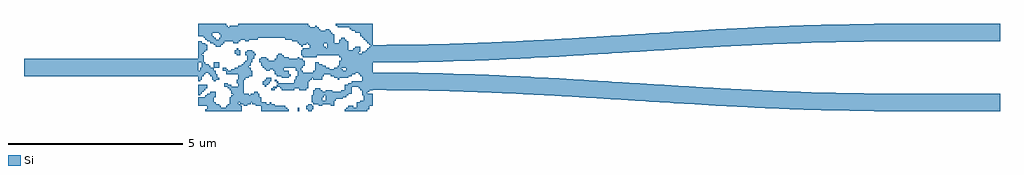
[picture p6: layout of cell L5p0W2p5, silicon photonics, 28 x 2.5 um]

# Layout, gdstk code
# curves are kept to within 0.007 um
import gdstk
lib = gdstk.Library(unit=1e-6, precision=1e-09)
def R(c, l, rs):  # rectangles x0, y0, x1, y1
    for r in rs: c.add(gdstk.rectangle(r[:2], r[2:], *l))
def P(c, l, *ps):  # polygons
    for p in ps: c.add(gdstk.Polygon(p, *l))
Si = (1, 0)

l5p0w2p5 = lib.new_cell('L5p0W2p5')
R(l5p0w2p5, Si, [(0.35,-1.25,0.4,-1.15), (-0.3,-0.4,-0.25,-0.35), (-2.05,0,-1.9,0.15), (2.1,0.45,2.15,0.6)])
P(l5p0w2p5, Si, [(17.298,-1.25),(16.187,-1.239),(14.874,-1.206),(13.36,-1.144),(12.15,-1.08),(12.15,-0.579),(13.987,-0.672),(15.694,-0.729),(17.299,-0.75),(20.5,-0.75),(20.5,-1.25)],
  [(12.15,0.579),(12.15,1.08),(14.269,1.184),(15.783,1.231),(17.298,1.25),(20.5,1.25),(20.5,0.75),(17.299,0.75),(15.694,0.729),(13.987,0.672)],
  [(12.15,-1.08),(8.224,-0.838),(6.716,-0.756),(6.716,-0.255),(8.858,-0.375),(12.15,-0.579)],
  [(6.716,0.255),(6.716,0.756),(8.224,0.838),(12.15,1.08),(12.15,0.579),(8.858,0.375)],
  [(2.1,-1.25),(2.1,-1),(2.15,-1),(2.15,-0.95),(2.25,-0.95),(2.25,-0.8),(2.2,-0.8),(2.2,-0.65),(2.15,-0.65),(2.15,-0.6),(2.1,-0.6),(2.1,-0.4),(2.2,-0.4),(2.2,-0.25),(2.15,-0.25),(2.15,-0.2),(2.1,-0.2),(2.1,0.4),(2.2,0.4),(2.2,0.45),(2.3,0.45),(2.3,0.5),(2.35,0.5),(2.35,0.55),(2.4,0.55),(2.4,0.6),(2.45,0.6),(2.45,0.65),(2.4,0.65),(2.4,0.7),(2.35,0.7),(2.35,0.75),(2.3,0.75),(2.3,0.8),(2.25,0.8),(2.25,0.85),(2.2,0.85),(2.2,0.9),(2.15,0.9),(2.15,1),(2.1,1),(2.1,1.25),(2.5,1.25),(2.5,0.645),(4.507,0.671),(6.716,0.756),(6.716,0.255),(4.52,0.171),(2.5,0.145),(2.5,-0.145),(4.52,-0.171),(6.716,-0.255),(6.716,-0.756),(5.511,-0.703),(4.306,-0.666),(3.102,-0.647),(2.4,-0.65),(2.4,-0.7),(2.35,-0.7),(2.35,-0.75),(2.5,-0.75),(2.5,-1.1),(2.4,-1.1),(2.4,-1.2),(2.35,-1.2),(2.35,-1.25)],
  [(1.7,-1.25),(1.7,-1.2),(1.75,-1.2),(1.75,-1.15),(1.8,-1.15),(1.8,-1.1),(1.95,-1.1),(1.95,-1.15),(2.05,-1.15),(2.05,-1),(2.1,-1),(2.1,-1.25)],
  [(-1.4,0.35),(-1.4,0.4),(-1.45,0.4),(-1.45,0.5),(-1.4,0.5),(-1.4,0.55),(-1.35,0.55),(-1.35,0.5),(-1.3,0.5),(-1.3,0.35)],
  [(-2.5,-0.4),(-2.5,-0.25),(-7.5,-0.25),(-7.5,-0.1),(-2.45,-0.1),(-2.45,0),(-2.4,0),(-2.4,0.15),(-2.5,0.15),(-2.5,-0.1),(-7.5,-0.1),(-7.5,0.25),(-2.5,0.25),(-2.5,0.75),(-2.4,0.75),(-2.4,0.7),(-2.3,0.7),(-2.3,0.65),(-2.25,0.65),(-2.25,0.5),(-2.3,0.5),(-2.3,0.45),(-2.35,0.45),(-2.35,0.4),(-2.4,0.4),(-2.4,0.35),(-2.35,0.35),(-2.35,0.15),(-2.3,0.15),(-2.3,0.1),(-2.2,0.1),(-2.2,0.05),(-2.15,0.05),(-2.15,0),(-2.05,0),(-2.05,-0.1),(-2,-0.1),(-2,-0.2),(-1.95,-0.2),(-1.95,-0.3),(-1.9,-0.3),(-1.9,-0.35),(-2,-0.35),(-2,-0.4),(-2.05,-0.4),(-2.05,-0.35),(-2.1,-0.35),(-2.1,-0.25),(-2.15,-0.25),(-2.15,-0.2),(-2.2,-0.2),(-2.2,-0.15),(-2.3,-0.15),(-2.3,-0.2),(-2.35,-0.2),(-2.35,-0.25),(-2.4,-0.25),(-2.4,-0.35),(-2.45,-0.35),(-2.45,-0.4)],
  [(-0.6,-0.55),(-0.6,-0.5),(-0.65,-0.5),(-0.65,-0.4),(-0.6,-0.4),(-0.6,-0.35),(-0.55,-0.35),(-0.55,-0.3),(-0.4,-0.3),(-0.4,-0.4),(-0.45,-0.4),(-0.45,-0.45),(-0.5,-0.45),(-0.5,-0.5),(-0.55,-0.5),(-0.55,-0.55)],
  [(-2,0.6),(-2,0.65),(-2.05,0.65),(-2.05,0.7),(-2.15,0.7),(-2.15,0.75),(-2.25,0.75),(-2.25,0.8),(-2.3,0.8),(-2.3,0.85),(-2.35,0.85),(-2.35,0.9),(-2.5,0.9),(-2.05,0.9),(-2.05,0.85),(-2,0.85),(-2,0.8),(-1.9,0.8),(-1.9,0.85),(-1.85,0.85),(-1.85,0.95),(-1.9,0.95),(-1.9,1),(-2.1,1),(-2.1,0.9),(-2.5,0.9),(-2.5,1.25),(-1.7,1.25),(-1.7,1.2),(-1.65,1.2),(-1.65,1.15),(-1.6,1.15),(-1.6,1.2),(-1.35,1.2),(-1.35,1.25),(0.65,1.25),(0.65,1.2),(0.7,1.2),(0.7,0.65),(0.65,0.65),(0.65,0.7),(0.6,0.7),(0.6,0.65),(0.5,0.65),(0.5,0.6),(0.45,0.6),(0.45,0.65),(0.4,0.65),(0.4,0.7),(0.35,0.7),(0.35,0.75),(0.2,0.75),(0.2,0.8),(0,0.8),(0,0.85),(-0.8,0.85),(-0.8,0.8),(-1.05,0.8),(-1.05,0.75),(-1.15,0.75),(-1.15,0.8),(-1.3,0.8),(-1.3,0.75),(-1.35,0.75),(-1.35,0.7),(-1.5,0.7),(-1.5,0.75),(-1.75,0.75),(-1.75,0.7),(-1.8,0.7),(-1.8,0.65),(-1.85,0.65),(-1.85,0.6)],
  [(0.95,-1.1),(0.95,-1.05),(0.8,-1.05),(0.8,-1),(0.75,-1),(0.75,-0.95),(1.15,-0.95),(1.15,-0.8),(1.1,-0.8),(1.1,-0.85),(1.05,-0.85),(1.05,-0.95),(0.75,-0.95),(0.75,-0.8),(0.8,-0.8),(0.8,-0.65),(0.85,-0.65),(0.85,-0.6),(1,-0.6),(1,-0.65),(1.05,-0.65),(1.05,-0.7),(1.15,-0.7),(1.15,-0.65),(1.35,-0.65),(1.35,-0.7),(1.6,-0.7),(1.6,-0.65),(1.7,-0.65),(1.7,-0.5),(1.8,-0.5),(1.8,-0.45),(1.9,-0.45),(1.9,-0.4),(2.1,-0.4),(2.1,-0.55),(1.9,-0.55),(1.9,-0.75),(1.8,-0.75),(1.8,-0.8),(1.75,-0.8),(1.75,-0.85),(1.65,-0.85),(1.65,-0.9),(1.45,-0.9),(1.45,-0.95),(1.4,-0.95),(1.4,-1.1),(1.3,-1.1),(1.3,-1.05),(1.05,-1.05),(1.05,-1.1)],
  [(-2.3,-1.25),(-2.3,-1.2),(-2.25,-1.2),(-2.25,-1.1),(-2.5,-1.1),(-2.5,-0.85),(-2.3,-0.85),(-2.3,-0.8),(-2.25,-0.8),(-2.25,-0.75),(-2.15,-0.75),(-2.15,-0.7),(-2,-0.7),(-2,-0.85),(-2.05,-0.85),(-2.05,-1),(-2,-1),(-2,-1.05),(-1.9,-1.05),(-1.9,-1.1),(-1.85,-1.1),(-1.85,-1.15),(-1.7,-1.15),(-1.7,-1.1),(-1.65,-1.1),(-1.65,-1.05),(-1.6,-1.05),(-1.6,-0.85),(-1.55,-0.85),(-1.55,-0.8),(-1.5,-0.8),(-1.5,-0.75),(-1.55,-0.75),(-1.55,-0.65),(-1.6,-0.65),(-1.6,-0.6),(-1.65,-0.6),(-1.65,-0.55),(-1.75,-0.55),(-1.75,-0.45),(-1.65,-0.45),(-1.65,-0.5),(-1.55,-0.5),(-1.55,-0.55),(-1.35,-0.55),(-1.35,-0.45),(-1.4,-0.45),(-1.4,-0.35),(-1.35,-0.35),(-1.35,-0.2),(-1.7,-0.2),(-1.7,-0.1),(-1.8,-0.1),(-1.8,0),(-1.7,0),(-1.7,-0.05),(-1.65,-0.05),(-1.65,-0.1),(-1.55,-0.1),(-1.55,-0.05),(-1.45,-0.05),(-1.45,0),(-1.35,0),(-1.35,0.05),(-1.25,0.05),(-1.25,0.1),(-1.2,0.1),(-1.2,0.15),(-1.15,0.15),(-1.15,0.2),(-1.1,0.2),(-1.1,0.35),(-1.15,0.35),(-1.15,0.45),(-1.1,0.45),(-1.1,0.5),(-0.95,0.5),(-0.95,0.45),(-0.9,0.45),(-0.9,0.4),(-0.85,0.4),(-0.85,0.35),(-0.9,0.35),(-0.9,0.25),(-0.95,0.25),(-0.95,0.15),(-1,0.15),(-1,0.05),(-1.05,0.05),(-1.05,0),(-1,0),(-1,-0.1),(-0.95,-0.1),(-0.95,-0.25),(-1.05,-0.25),(-1.05,-0.3),(-1.15,-0.3),(-1.15,-0.35),(-1.2,-0.35),(-1.2,-0.75),(-1.05,-0.75),(-1.05,-0.8),(-1,-0.8),(-1,-0.75),(-0.9,-0.75),(-0.9,-0.7),(-0.8,-0.7),(-0.8,-0.75),(-0.75,-0.75),(-0.75,-0.85),(-0.7,-0.85),(-0.7,-1),(-0.55,-1),(-0.55,-1.05),(-0.45,-1.05),(-0.45,-1),(-0.4,-1),(-0.4,-1.05),(-0.3,-1.05),(-0.3,-1.1),(0,-1.1),(0,-1.15),(0.05,-1.15),(0.05,-1.2),(0.1,-1.2),(0.1,-1.25),(-0.7,-1.25),(-0.7,-1.1),(-0.85,-1.1),(-0.85,-1.05),(-0.95,-1.05),(-0.95,-1),(-1.35,-1),(-1.35,-1.05),(-1.3,-1.05),(-1.3,-1.1),(-1.25,-1.1),(-1.25,-1.25)],
  [(-0.1,-0.65),(-0.1,-0.6),(-0.15,-0.6),(-0.15,-0.55),(-0.25,-0.55),(-0.25,-0.5),(-0.2,-0.5),(-0.2,-0.45),(-0.25,-0.45),(-0.25,-0.4),(-0.2,-0.4),(-0.2,-0.45),(0.25,-0.45),(0.25,-0.35),(0.3,-0.35),(0.3,-0.25),(0.35,-0.25),(0.35,-0.1),(0.3,-0.1),(0.3,0),(-0.05,0),(-0.05,-0.1),(0.1,-0.1),(0.1,-0.2),(0.15,-0.2),(0.15,-0.25),(0.1,-0.25),(0.1,-0.3),(-0.1,-0.3),(-0.1,-0.25),(-0.25,-0.25),(-0.25,-0.2),(-0.3,-0.2),(-0.3,-0.1),(-0.35,-0.1),(-0.35,-0.05),(-0.45,-0.05),(-0.45,-0.1),(-0.55,-0.1),(-0.55,-0.05),(-0.6,-0.05),(-0.6,0),(-0.65,0),(-0.65,0.05),(-0.7,0.05),(-0.7,0.15),(-0.75,0.15),(-0.75,0.25),(-0.7,0.25),(-0.7,0.3),(-0.55,0.3),(-0.55,0.25),(-0.5,0.25),(-0.5,0.2),(-0.3,0.2),(-0.3,0.25),(-0.25,0.25),(-0.25,0.35),(-0.2,0.35),(-0.2,0.4),(-0.1,0.4),(-0.1,0.35),(-0.05,0.35),(-0.05,0.3),(0.1,0.3),(0.1,0.25),(0.35,0.25),(0.35,0.3),(0.4,0.3),(0.4,0.25),(0.5,0.25),(0.5,0.2),(0.55,0.2),(0.55,0.05),(0.5,0.05),(0.5,0),(0.45,0),(0.45,-0.1),(0.5,-0.1),(0.5,-0.15),(0.7,-0.15),(0.7,-0.4),(0.65,-0.4),(0.65,-0.6),(0.6,-0.6),(0.6,-0.65),(0.4,-0.65),(0.4,-0.6),(0.25,-0.6),(0.25,-0.65)],
  [(-2.5,-0.8),(-2.5,-0.5),(-2.25,-0.5),(-2.25,-0.6),(-2.3,-0.6),(-2.3,-0.65),(-2.35,-0.65),(-2.35,-0.7),(-2.4,-0.7),(-2.4,-0.75),(-2.45,-0.75),(-2.45,-0.8)],
  [(-0.4,-0.65),(-0.4,-0.6),(-0.35,-0.6),(-0.35,-0.55),(-0.25,-0.55),(-0.25,-0.6),(-0.3,-0.6),(-0.3,-0.65)],
  [(-1.2,-1.1),(-1.2,-1.05),(-1.3,-1.05),(-1.3,-1),(-1,-1),(-1,-1.05),(-1.1,-1.05),(-1.1,-1.1)],
  [(0.65,-1.25),(0.65,-1.2),(0.6,-1.2),(0.6,-1.1),(0.65,-1.1),(0.65,-1.05),(0.75,-1.05),(0.75,-1.1),(0.8,-1.1),(0.8,-1.2),(0.75,-1.2),(0.75,-1.25)],
  [(2,1),(2,1.05),(1.9,1.05),(1.9,1.1),(1.85,1.1),(1.85,1.15),(1.5,1.15),(1.5,1.2),(1.45,1.2),(1.45,1.25),(2.1,1.25),(2.1,1)],
  [(0.7,-0.35),(0.7,-0.15),(0.8,-0.15),(0.8,-0.1),(0.85,-0.1),(0.85,0.15),(0.95,0.15),(0.95,0.1),(1.05,0.1),(1.05,0.05),(1.15,0.05),(1.15,0),(1.25,0),(1.25,-0.05),(1.65,-0.05),(1.65,-0.1),(1.75,-0.1),(1.75,0),(1.6,0),(1.6,-0.05),(1.4,-0.05),(1.4,0),(1.5,0),(1.5,0.05),(1.55,0.05),(1.55,0.2),(1.6,0.2),(1.6,0.3),(1.55,0.3),(1.55,0.35),(0.9,0.35),(0.9,0.3),(0.7,0.3),(0.7,0.6),(1.15,0.6),(1.15,0.55),(1.2,0.55),(1.2,0.7),(1.1,0.7),(1.1,0.6),(0.7,0.6),(0.7,1.15),(0.85,1.15),(0.85,1.2),(0.9,1.2),(0.9,1.15),(0.95,1.15),(0.95,1.1),(1,1.1),(1,1.05),(1.15,1.05),(1.15,1.1),(1.25,1.1),(1.25,1.05),(1.3,1.05),(1.3,1),(1.35,1),(1.35,0.95),(1.4,0.95),(1.4,0.7),(1.55,0.7),(1.55,0.8),(1.6,0.8),(1.6,0.85),(1.7,0.85),(1.7,0.8),(1.75,0.8),(1.75,0.75),(1.8,0.75),(1.8,0.5),(1.95,0.5),(1.95,0.55),(2,0.55),(2,0.6),(2.1,0.6),(2.1,-0.15),(2,-0.15),(2,-0.2),(1.9,-0.2),(1.9,-0.25),(1.8,-0.25),(1.8,-0.3),(1.55,-0.3),(1.55,-0.35),(1.5,-0.35),(1.5,-0.3),(1.4,-0.3),(1.4,-0.25),(1.3,-0.25),(1.3,-0.2),(1.1,-0.2),(1.1,-0.25),(1.05,-0.25),(1.05,-0.35),(0.8,-0.35),(0.8,-0.3),(0.75,-0.3),(0.75,-0.35)],
  [(0.5,0.3),(0.5,0.35),(0.45,0.35),(0.45,0.5),(0.5,0.5),(0.5,0.55),(0.7,0.55),(0.7,0.3)])

lib.write_gds('L5p0W2p5.gds')
